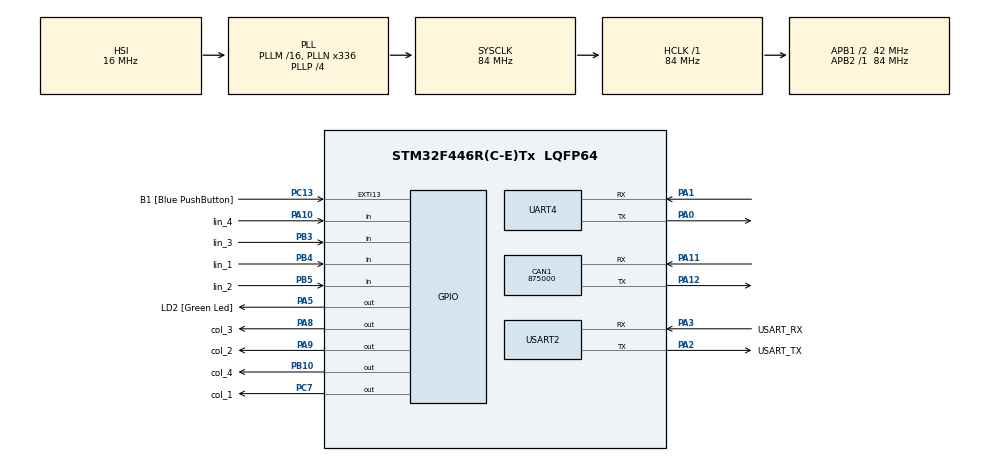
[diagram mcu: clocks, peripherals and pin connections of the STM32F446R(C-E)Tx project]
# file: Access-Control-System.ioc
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CAN1.CalculateBaudRate=875000
CAN1.CalculateTimeBit=1142
CAN1.CalculateTimeQuantum=380.95238095238096
Mcu.Family=STM32F4
Mcu.Name=STM32F446R(C-E)Tx
Mcu.Package=LQFP64
NVIC.PriorityGroup=NVIC_PRIORITYGROUP_0
PA0-WKUP.Mode=Asynchronous
PA0-WKUP.Signal=UART4_TX
PA1.Mode=Asynchronous
PA1.Signal=UART4_RX
PA10.GPIO_Label=lin_4
PA10.GPIO_PuPd=GPIO_PULLDOWN
PA10.Signal=GPIO_Input
PA11.Mode=CAN_Activate
PA11.Signal=CAN1_RX
PA12.Mode=CAN_Activate
PA12.Signal=CAN1_TX
PA13.GPIO_Label=TMS
PA13.Mode=Serial_Wire
PA13.Signal=SYS_JTMS-SWDIO
PA14.GPIO_Label=TCK
PA14.Mode=Serial_Wire
PA14.Signal=SYS_JTCK-SWCLK
PA2.GPIO_Label=USART_TX
PA2.Mode=Asynchronous
PA2.Signal=USART2_TX
PA3.GPIO_Label=USART_RX
PA3.Mode=Asynchronous
PA3.Signal=USART2_RX
PA5.GPIO_Label=LD2 [Green Led]
PA5.Signal=GPIO_Output
PA8.GPIO_Label=col_3
PA8.Signal=GPIO_Output
PA9.GPIO_Label=col_2
PA9.Signal=GPIO_Output
PB10.GPIO_Label=col_4
PB10.Signal=GPIO_Output
PB3.GPIO_Label=lin_3
PB3.GPIO_PuPd=GPIO_PULLDOWN
PB3.Signal=GPIO_Input
PB4.GPIO_Label=lin_1
PB4.GPIO_PuPd=GPIO_PULLDOWN
PB4.Signal=GPIO_Input
PB5.GPIO_Label=lin_2
PB5.GPIO_PuPd=GPIO_PULLDOWN
PB5.Signal=GPIO_Input
PC13.GPIO_Label=B1 [Blue PushButton]
PC13.GPIO_ModeDefaultEXTI=GPIO_MODE_IT_FALLING
PC13.Signal=GPXTI13
PC14-OSC32_IN.Mode=LSE-External-Oscillator
PC14-OSC32_IN.Signal=RCC_OSC32_IN
PC15-OSC32_OUT.Mode=LSE-External-Oscillator
PC15-OSC32_OUT.Signal=RCC_OSC32_OUT
PC7.GPIO_Label=col_1
PC7.Signal=GPIO_Output
PH0-OSC_IN.Mode=HSE-External-Oscillator
PH0-OSC_IN.Signal=RCC_OSC_IN
PH1-OSC_OUT.Mode=HSE-External-Oscillator
PH1-OSC_OUT.Signal=RCC_OSC_OUT
ProjectManager.HeapSize=0x200
ProjectManager.StackSize=0x400
ProjectManager.TargetToolchain=STM32CubeIDE
RCC.48MHZClocksFreq_Value=84000000
RCC.AHBFreq_Value=84000000
RCC.APB1CLKDivider=RCC_HCLK_DIV2
RCC.APB1Freq_Value=42000000
RCC.APB1TimFreq_Value=84000000
RCC.APB2Freq_Value=84000000
RCC.APB2TimFreq_Value=84000000
RCC.CortexFreq_Value=84000000
RCC.FLatency-AdvancedSettings=FLASH_LATENCY_2
RCC.HCLKFreq_Value=84000000
RCC.HSE_VALUE=8000000
RCC.HSI_VALUE=16000000
RCC.PLLN=336
RCC.PLLP=RCC_PLLP_DIV4
RCC.SYSCLKFreq_VALUE=84000000
RCC.SYSCLKSource=RCC_SYSCLKSOURCE_PLLCLK
RCC.USBFreq_Value=168000000
RCC.VCOOutputFreq_Value=336000000
UART4.VirtualMode=Asynchronous
USART2.VirtualMode=VM_ASYNC
VP_RTC_VS_RTC_Activate.Mode=RTC_Enabled
VP_RTC_VS_RTC_Calendar.Mode=RTC_Calendar
board=NUCLEO-F446RE

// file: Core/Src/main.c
/* USER CODE BEGIN Header */
/**
  ******************************************************************************
  * @file           : main.c
  * @brief          : Main program body
  ******************************************************************************
  * @attention
  *
  * Copyright (c) 2022 STMicroelectronics.
  * All rights reserved.
  *
  * This software is licensed under terms that can be found in the LICENSE file
  * in the root directory of this software component.
  * If no LICENSE file comes with this software, it is provided AS-IS.
  *
  ******************************************************************************
  */
/* USER CODE END Header */
#include "main.h"

/* USER CODE BEGIN Includes */
#include <stdbool.h>
/* USER CODE END Includes */

CAN_HandleTypeDef hcan1;

RTC_HandleTypeDef hrtc;

UART_HandleTypeDef huart4;
UART_HandleTypeDef huart2;

/* USER CODE BEGIN PV */
char oldKeyPressed = '\0';
char keyPressed = '\0';
char password[6] = "122455";
const int nbDigitsPassword = 6;

//bus CAN
CAN_TxHeaderTypeDef   TxHeader;
CAN_RxHeaderTypeDef   RxHeader;
uint8_t               TxData[8];
uint8_t               RxData[8];
uint32_t              TxMailbox;

/* USER CODE END PV */

void SystemClock_Config(void);
static void MX_GPIO_Init(void);
static void MX_USART2_UART_Init(void);
static void MX_RTC_Init(void);
static void MX_UART4_Init(void);
static void MX_CAN1_Init(void);
/* USER CODE BEGIN PFP */
char digicode_read();
char get_digicode_key();
/* USER CODE END PFP */

/* USER CODE BEGIN 0 */
char digicode_read()
{
	HAL_GPIO_WritePin(col_2_GPIO_Port, col_2_Pin, GPIO_PIN_RESET);
	HAL_GPIO_WritePin(col_3_GPIO_Port, col_3_Pin, GPIO_PIN_RESET);
	HAL_GPIO_WritePin(col_4_GPIO_Port, col_4_Pin, GPIO_PIN_RESET);

	//COLONNE 1
	HAL_GPIO_WritePin(col_1_GPIO_Port, col_1_Pin, GPIO_PIN_SET);
	GPIO_PinState line1 = HAL_GPIO_ReadPin(lin_1_GPIO_Port, lin_1_Pin);
	GPIO_PinState line2 = HAL_GPIO_ReadPin(lin_2_GPIO_Port, lin_2_Pin);
	GPIO_PinState line3 = HAL_GPIO_ReadPin(lin_3_GPIO_Port, lin_3_Pin);
	GPIO_PinState line4 = HAL_GPIO_ReadPin(lin_4_GPIO_Port, lin_4_Pin);
	if(line1)
		return '1';
	if(line2)
		return '4';
	if(line3)
		return '7';
	if(line4)
		return '*';
	HAL_GPIO_WritePin(col_1_GPIO_Port, col_1_Pin, GPIO_PIN_RESET);

	//COLONNE 2
	HAL_GPIO_WritePin(col_2_GPIO_Port, col_2_Pin, GPIO_PIN_SET);
	line1 = HAL_GPIO_ReadPin(lin_1_GPIO_Port, lin_1_Pin);
	line2 = HAL_GPIO_ReadPin(lin_2_GPIO_Port, lin_2_Pin);
	line3 = HAL_GPIO_ReadPin(lin_3_GPIO_Port, lin_3_Pin);
	line4 = HAL_GPIO_ReadPin(lin_4_GPIO_Port, lin_4_Pin);
	if(line1)
		return '2';
	if(line2)
		return '5';
	if(line3)
		return '8';
	if(line4)
		return '0';
	HAL_GPIO_WritePin(col_2_GPIO_Port, col_2_Pin, GPIO_PIN_RESET);

	//COLONNE 3
	HAL_GPIO_WritePin(col_3_GPIO_Port, col_3_Pin, GPIO_PIN_SET);
	line1 = HAL_GPIO_ReadPin(lin_1_GPIO_Port, lin_1_Pin);
	line2 = HAL_GPIO_ReadPin(lin_2_GPIO_Port, lin_2_Pin);
	line3 = HAL_GPIO_ReadPin(lin_3_GPIO_Port, lin_3_Pin);
	line4 = HAL_GPIO_ReadPin(lin_4_GPIO_Port, lin_4_Pin);
	if(line1)
		return '3';
	if(line2)
		return '6';
	if(line3)
		return '9';
	if(line4)
		return '#';
	HAL_GPIO_WritePin(col_3_GPIO_Port, col_3_Pin, GPIO_PIN_RESET);

	//COLONNE 4
	HAL_GPIO_WritePin(col_4_GPIO_Port, col_4_Pin, GPIO_PIN_SET);
	line1 = HAL_GPIO_ReadPin(lin_1_GPIO_Port, lin_1_Pin);
	line2 = HAL_GPIO_ReadPin(lin_2_GPIO_Port, lin_2_Pin);
	line3 = HAL_GPIO_ReadPin(lin_3_GPIO_Port, lin_3_Pin);
	line4 = HAL_GPIO_ReadPin(lin_4_GPIO_Port, lin_4_Pin);
	if(line1)
		return 'A';
	if(line2)
		return 'B';
	if(line3)
		return 'C';
	if(line4)
		return 'D';
	HAL_GPIO_WritePin(col_4_GPIO_Port, col_4_Pin, GPIO_PIN_RESET);

	return '\0';
}

char get_digicode_key()
{
	keyPressed = digicode_read();
	if(keyPressed == '\0' && oldKeyPressed != '\0')
	{
	 HAL_Delay(200);
	}
	if(keyPressed != '\0' && oldKeyPressed == '\0')
	{
		//Touche entrée
		oldKeyPressed = keyPressed;
		return keyPressed;
	}
	oldKeyPressed = keyPressed;
	return NULL;
}

void WriteLog(char* logMessage)
{
    FILE* file = NULL;
    file = fopen("Log.txt", "w+");
    if(file != NULL)
    {

      fputs(logMessage, file);
    }
}

bool CAN_Transmit(uint32_t addr, uint32_t data_size, uint8_t * tab_data)
{
    if(data_size > 8 || sizeof(tab_data) / sizeof(tab_data[0]) <= data_size)
    	return false;

    TxHeader.StdId = addr;
    TxHeader.DLC = data_size;

    for(int i = 0; i < data_size; i++)
    {
	TxData[i] = tab_data[i];
    }

    HAL_CAN_AddTxMessage(&hcan1, &TxHeader, TxData, &TxMailbox);

    return true;
}
/* USER CODE END 0 */

int main(void)
{

  /* MCU Configuration--------------------------------------------------------*/

  /* Reset of all peripherals, Initializes the Flash interface and the Systick. */
  HAL_Init();

  /* Configure the system clock */
  SystemClock_Config();

  /* Initialize all configured peripherals */
  MX_GPIO_Init();
  MX_USART2_UART_Init();
  MX_RTC_Init();
  MX_UART4_Init();
  MX_CAN1_Init();

  /* Infinite loop */
  /* USER CODE BEGIN WHILE */
  int passwordIndex = 0;
  bool isOpen = false;
  bool isChangingPassword = false;
  char closeChar = 'A';
  char changePasswordChar = 'D';
  char currentPassword[6] = "ZZZZZZ";
  HAL_Delay(500);
  while (1)
  {
	char c = get_digicode_key();
	if(c != NULL)
	  HAL_UART_Transmit(&huart2, &c, sizeof(c), 1000);

	   //begin Léonard's code
	   if(!isOpen)
	   {
			if(c != NULL)
			{
				currentPassword[passwordIndex] = c;
				passwordIndex++;
				if(passwordIndex >= nbDigitsPassword)
			    {
					//on vérif que le mdp est le bon
					bool isGoodPassword = true;
					for(int i = 0; i < nbDigitsPassword; i++)
					{
						if(password[i] != currentPassword[i])
						{
							isGoodPassword = false;
							break;
						}
				 	}
					if(isGoodPassword)
					{
						//ON ouvre la porte
						HAL_UART_Transmit(&huart2, "Code bon\n", sizeof("Code bon\n"), 1000);
						isOpen = true;
					}
					else
					{
						//Code erroré, allumé la led rouge
						HAL_UART_Transmit(&huart2, "Code errone\n", sizeof("Code errone\n"), 1000);
						char* mess = strcat("Password Error : ", currentPassword);
						WriteLog(mess);
					}
					passwordIndex = 0;
				}
			}
		}
		else//Porte ouverte
		{
			if(c != NULL)
			{
				if(c == changePasswordChar && !isChangingPassword)
				{
					HAL_UART_Transmit(&huart2, "En attente du nouveau mdp\n", sizeof("En attente du nouveau mdp\n"), 1000);
					isChangingPassword = true;
				}
				else if(c == closeChar)
				{
					HAL_UART_Transmit(&huart2, "Fermeture de porte\n", sizeof("Fermeture de porte\n"), 1000);
					isOpen = false;
					isChangingPassword = false;
				}
				else if(isChangingPassword)
				{
					password[passwordIndex] = c;
					passwordIndex++;
					if(passwordIndex >= nbDigitsPassword)
					{
						HAL_UART_Transmit(&huart2, "mdp change\n", sizeof("mdp change\n"), 1000);
						isChangingPassword = false;
						passwordIndex = 0;
					}
				}
			}
		}
	    // La transmision de mess avec le bus CAN
	    if(HAL_CAN_GetRxFifoFillLevel(&hcan1, CAN_RX_FIFO0) > 0)
	    {
	    	HAL_CAN_GetRxMessage(&hcan1, CAN_RX_FIFO0, &RxHeader, RxData);
	   	    if (RxHeader.IDE == CAN_ID_STD && RxHeader.DLC == 1 && RxData[0] == 4)
	        {
	   	    	// Traitement des données
	     	}
	    }

	  //end Léonard's code

    /* USER CODE END WHILE */

  }
}

void SystemClock_Config(void)
{
  RCC_OscInitTypeDef RCC_OscInitStruct = {0};
  RCC_ClkInitTypeDef RCC_ClkInitStruct = {0};

  /** Configure the main internal regulator output voltage
  */
  __HAL_RCC_PWR_CLK_ENABLE();
  __HAL_PWR_VOLTAGESCALING_CONFIG(PWR_REGULATOR_VOLTAGE_SCALE3);

  /** Initializes the RCC Oscillators according to the specified parameters
  * in the RCC_OscInitTypeDef structure.
  */
  RCC_OscInitStruct.OscillatorType = RCC_OSCILLATORTYPE_HSI|RCC_OSCILLATORTYPE_LSI;
  RCC_OscInitStruct.LSEState = RCC_LSE_ON;
  RCC_OscInitStruct.HSIState = RCC_HSI_ON;
  RCC_OscInitStruct.HSICalibrationValue = RCC_HSICALIBRATION_DEFAULT;
  RCC_OscInitStruct.LSIState = RCC_LSI_ON;
  RCC_OscInitStruct.PLL.PLLState = RCC_PLL_ON;
  RCC_OscInitStruct.PLL.PLLSource = RCC_PLLSOURCE_HSI;
  RCC_OscInitStruct.PLL.PLLM = 16;
  RCC_OscInitStruct.PLL.PLLN = 336;
  RCC_OscInitStruct.PLL.PLLP = RCC_PLLP_DIV4;
  RCC_OscInitStruct.PLL.PLLQ = 2;
  RCC_OscInitStruct.PLL.PLLR = 2;
  if (HAL_RCC_OscConfig(&RCC_OscInitStruct) != HAL_OK)
  {
    Error_Handler();
  }

  /** Initializes the CPU, AHB and APB buses clocks
  */
  RCC_ClkInitStruct.ClockType = RCC_CLOCKTYPE_HCLK|RCC_CLOCKTYPE_SYSCLK
                              |RCC_CLOCKTYPE_PCLK1|RCC_CLOCKTYPE_PCLK2;
  RCC_ClkInitStruct.SYSCLKSource = RCC_SYSCLKSOURCE_PLLCLK;
  RCC_ClkInitStruct.AHBCLKDivider = RCC_SYSCLK_DIV1;
  RCC_ClkInitStruct.APB1CLKDivider = RCC_HCLK_DIV2;
  RCC_ClkInitStruct.APB2CLKDivider = RCC_HCLK_DIV1;

  if (HAL_RCC_ClockConfig(&RCC_ClkInitStruct, FLASH_LATENCY_2) != HAL_OK)
  {
    Error_Handler();
  }
}

static void MX_CAN1_Init(void)
{

  hcan1.Instance = CAN1;
  hcan1.Init.Prescaler = 16;
  hcan1.Init.Mode = CAN_MODE_NORMAL;
  hcan1.Init.SyncJumpWidth = CAN_SJW_1TQ;
  hcan1.Init.TimeSeg1 = CAN_BS1_1TQ;
  hcan1.Init.TimeSeg2 = CAN_BS2_1TQ;
  hcan1.Init.TimeTriggeredMode = DISABLE;
  hcan1.Init.AutoBusOff = DISABLE;
  hcan1.Init.AutoWakeUp = DISABLE;
  hcan1.Init.AutoRetransmission = DISABLE;
  hcan1.Init.ReceiveFifoLocked = DISABLE;
  hcan1.Init.TransmitFifoPriority = DISABLE;
  if (HAL_CAN_Init(&hcan1) != HAL_OK)
  {
    Error_Handler();
  }

}

static void MX_RTC_Init(void)
{

  RTC_TimeTypeDef sTime = {0};
  RTC_DateTypeDef sDate = {0};

  /** Initialize RTC Only
  */
  hrtc.Instance = RTC;
  hrtc.Init.HourFormat = RTC_HOURFORMAT_24;
  hrtc.Init.AsynchPrediv = 127;
  hrtc.Init.SynchPrediv = 255;
  hrtc.Init.OutPut = RTC_OUTPUT_DISABLE;
  hrtc.Init.OutPutPolarity = RTC_OUTPUT_POLARITY_HIGH;
  hrtc.Init.OutPutType = RTC_OUTPUT_TYPE_OPENDRAIN;
  if (HAL_RTC_Init(&hrtc) != HAL_OK)
  {
    Error_Handler();
  }

  /** Initialize RTC and set the Time and Date
  */
  sTime.Hours = 0x0;
  sTime.Minutes = 0x0;
  sTime.Seconds = 0x0;
  sTime.DayLightSaving = RTC_DAYLIGHTSAVING_NONE;
  sTime.StoreOperation = RTC_STOREOPERATION_RESET;
  if (HAL_RTC_SetTime(&hrtc, &sTime, RTC_FORMAT_BCD) != HAL_OK)
  {
    Error_Handler();
  }
  sDate.WeekDay = RTC_WEEKDAY_MONDAY;
  sDate.Month = RTC_MONTH_JANUARY;
  sDate.Date = 0x1;
  sDate.Year = 0x0;

  if (HAL_RTC_SetDate(&hrtc, &sDate, RTC_FORMAT_BCD) != HAL_OK)
  {
    Error_Handler();
  }

}

static void MX_UART4_Init(void)
{

  huart4.Instance = UART4;
  huart4.Init.BaudRate = 115200;
  huart4.Init.WordLength = UART_WORDLENGTH_8B;
  huart4.Init.StopBits = UART_STOPBITS_1;
  huart4.Init.Parity = UART_PARITY_NONE;
  huart4.Init.Mode = UART_MODE_TX_RX;
  huart4.Init.HwFlowCtl = UART_HWCONTROL_NONE;
  huart4.Init.OverSampling = UART_OVERSAMPLING_16;
  if (HAL_UART_Init(&huart4) != HAL_OK)
  {
    Error_Handler();
  }

}

static void MX_USART2_UART_Init(void)
{

  huart2.Instance = USART2;
  huart2.Init.BaudRate = 115200;
  huart2.Init.WordLength = UART_WORDLENGTH_8B;
  huart2.Init.StopBits = UART_STOPBITS_1;
  huart2.Init.Parity = UART_PARITY_NONE;
  huart2.Init.Mode = UART_MODE_TX_RX;
  huart2.Init.HwFlowCtl = UART_HWCONTROL_NONE;
  huart2.Init.OverSampling = UART_OVERSAMPLING_16;
  if (HAL_UART_Init(&huart2) != HAL_OK)
  {
    Error_Handler();
  }

}

static void MX_GPIO_Init(void)
{
  GPIO_InitTypeDef GPIO_InitStruct = {0};

  /* GPIO Ports Clock Enable */
  __HAL_RCC_GPIOC_CLK_ENABLE();
  __HAL_RCC_GPIOH_CLK_ENABLE();
  __HAL_RCC_GPIOA_CLK_ENABLE();
  __HAL_RCC_GPIOB_CLK_ENABLE();

  /*Configure GPIO pin Output Level */
  HAL_GPIO_WritePin(GPIOA, LD2_Pin|col_3_Pin|col_2_Pin, GPIO_PIN_RESET);

  /*Configure GPIO pin Output Level */
  HAL_GPIO_WritePin(col_4_GPIO_Port, col_4_Pin, GPIO_PIN_RESET);

  /*Configure GPIO pin Output Level */
  HAL_GPIO_WritePin(col_1_GPIO_Port, col_1_Pin, GPIO_PIN_RESET);

  /*Configure GPIO pin : B1_Pin */
  GPIO_InitStruct.Pin = B1_Pin;
  GPIO_InitStruct.Mode = GPIO_MODE_IT_FALLING;
  GPIO_InitStruct.Pull = GPIO_NOPULL;
  HAL_GPIO_Init(B1_GPIO_Port, &GPIO_InitStruct);

  /*Configure GPIO pins : LD2_Pin col_3_Pin col_2_Pin */
  GPIO_InitStruct.Pin = LD2_Pin|col_3_Pin|col_2_Pin;
  GPIO_InitStruct.Mode = GPIO_MODE_OUTPUT_PP;
  GPIO_InitStruct.Pull = GPIO_NOPULL;
  GPIO_InitStruct.Speed = GPIO_SPEED_FREQ_LOW;
  HAL_GPIO_Init(GPIOA, &GPIO_InitStruct);

  /*Configure GPIO pin : col_4_Pin */
  GPIO_InitStruct.Pin = col_4_Pin;
  GPIO_InitStruct.Mode = GPIO_MODE_OUTPUT_PP;
  GPIO_InitStruct.Pull = GPIO_NOPULL;
  GPIO_InitStruct.Speed = GPIO_SPEED_FREQ_LOW;
  HAL_GPIO_Init(col_4_GPIO_Port, &GPIO_InitStruct);

  /*Configure GPIO pin : col_1_Pin */
  GPIO_InitStruct.Pin = col_1_Pin;
  GPIO_InitStruct.Mode = GPIO_MODE_OUTPUT_PP;
  GPIO_InitStruct.Pull = GPIO_NOPULL;
  GPIO_InitStruct.Speed = GPIO_SPEED_FREQ_LOW;
  HAL_GPIO_Init(col_1_GPIO_Port, &GPIO_InitStruct);

  /*Configure GPIO pin : lin_4_Pin */
  GPIO_InitStruct.Pin = lin_4_Pin;
  GPIO_InitStruct.Mode = GPIO_MODE_INPUT;
  GPIO_InitStruct.Pull = GPIO_PULLDOWN;
  HAL_GPIO_Init(lin_4_GPIO_Port, &GPIO_InitStruct);

  /*Configure GPIO pins : lin_3_Pin lin_1_Pin lin_2_Pin */
  GPIO_InitStruct.Pin = lin_3_Pin|lin_1_Pin|lin_2_Pin;
  GPIO_InitStruct.Mode = GPIO_MODE_INPUT;
  GPIO_InitStruct.Pull = GPIO_PULLDOWN;
  HAL_GPIO_Init(GPIOB, &GPIO_InitStruct);

}

void Error_Handler(void)
{
  __disable_irq();
  while (1)
  {
  }
}
